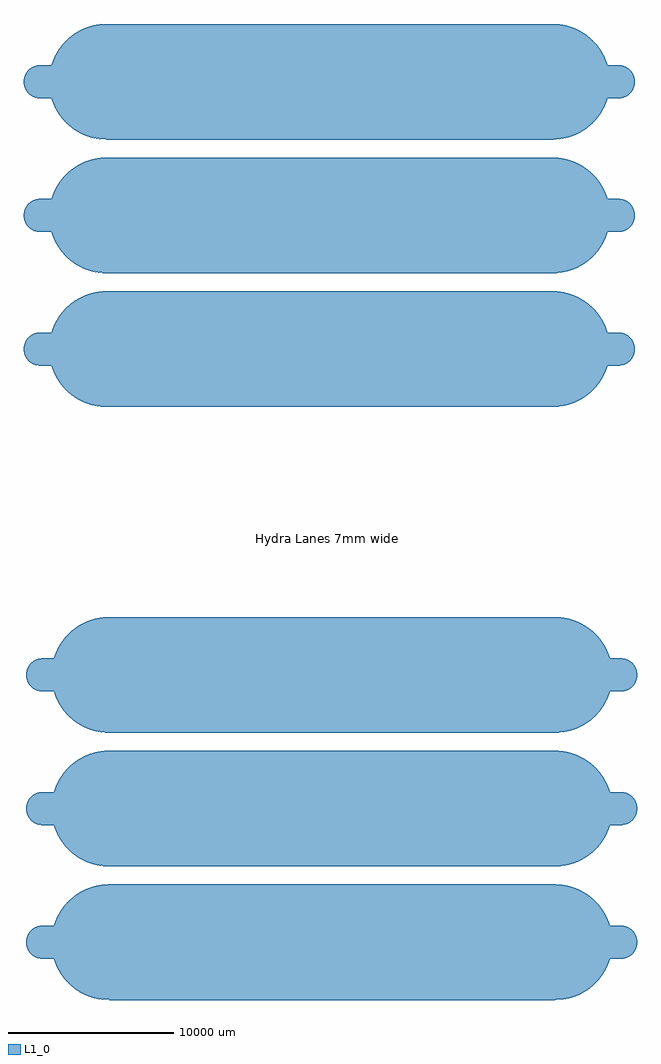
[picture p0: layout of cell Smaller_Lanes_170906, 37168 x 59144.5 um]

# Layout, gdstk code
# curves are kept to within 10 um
import gdstk
lib = gdstk.Library(unit=1e-6, precision=1e-09)
def R(c, l, rs):  # rectangles x0, y0, x1, y1
    for r in rs: c.add(gdstk.rectangle(r[:2], r[2:], *l))
def P(c, l, *ps):  # polygons
    for p in ps: c.add(gdstk.Polygon(p, *l))
L1_0 = (1, 0)

hydralane_1cmwide = lib.new_cell('HydraLane_1cmWide')
R(hydralane_1cmwide, L1_0, [(176922,10419.75,203922,17419.75), (172922,12919.75,207922,14919.75)])
P(hydralane_1cmwide, L1_0, [(207216.9,13210.15),(207091.5,13362),(206998.3,13535.45),(206940.9,13723.75),(206921.5,13919.75),(207216.9,13919.75)],
  [(207216.9,13919.75),(207921.5,13919.75),(207921.5,12919.75),(207725.5,12939.15),(207543.75,12993.85),(207369.6,13085.85),(207216.9,13210.15)],
  [(207216.9,13919.75),(206921.5,13919.75),(206940.9,14115.75),(206998.3,14304.05),(207091.5,14477.5),(207216.9,14629.35)],
  [(207216.9,14629.35),(207369.6,14753.65),(207543.75,14845.65),(207725.5,14900.35),(207921.5,14919.75),(207921.5,13919.75),(207216.9,13919.75)],
  [(208626.1,13210.15),(208473.4,13085.85),(208299.25,12993.85),(208117.5,12939.15),(207921.5,12919.75),(207921.5,13919.75),(208626.1,13919.75)],
  [(208626.1,13919.75),(208921.5,13919.75),(208902.1,13723.75),(208844.7,13535.45),(208751.5,13362),(208626.1,13210.15)],
  [(208626.1,13919.75),(207921.5,13919.75),(207921.5,14919.75),(208117.5,14900.35),(208299.25,14845.65),(208473.4,14753.65),(208626.1,14629.35)],
  [(208626.1,14629.35),(208751.5,14477.5),(208844.7,14304.05),(208902.1,14115.75),(208921.5,13919.75),(208626.1,13919.75)],
  [(172199.9,13919.75),(172199.9,13205.2),(172073.4,13356.2),(171976.3,13535.4),(171917.5,13730.75),(171899.5,13919.75)],
  [(171899.5,13919.75),(171917.5,14108.75),(171976.3,14304.1),(172073.4,14483.3),(172199.9,14634.3),(172199.9,13919.75)],
  [(172920.65,14634.3),(172920.65,12920),(172871.3,12920.15),(172682.85,12943.5),(172508.65,12999.3),(172341.75,13089.75),(172199.9,13205.2),(172199.9,14634.3)],
  [(172199.9,14634.3),(172353.5,14757.55),(172534.75,14850.85),(172724.25,14904.25),(172920.65,14919.5),(172920.65,14634.3)],
  [(173316.05,13010.65),(173122.95,12945.05),(172920.65,12920),(172920.65,14919.5),(173122.95,14894.45),(173316.05,14828.85)],
  [(173316.05,14828.85),(173474.65,14737.75),(173614.05,14619.3),(173614.05,13220.2),(173474.65,13101.75),(173316.05,13010.65)],
  [(173817.15,13522.45),(173729.45,13361.95),(173614.05,13220.2),(173614.05,14619.3),(173729.45,14477.55),(173817.15,14317.05)],
  [(173817.15,14317.05),(173878.65,14122.65),(173899.45,13926.8),(173894.6,13821.25),(173878.65,13716.85),(173817.15,13522.45)],
  [(201449.5,11435.55),(201217.85,11689.2),(201012.25,11964.25),(200834.55,12258.2),(200686.5,12568.2),(200569.6,12891.1),(200484.85,13224),(200433.2,13563.5),(200415,13919.75),(201449.5,13919.75)],
  [(201449.5,13919.75),(203915,13919.75),(203915,10419.75),(203585.05,10435.35),(203232.2,10487),(202911.65,10566.65),(202587.8,10681.15),(202276.75,10826.85),(201981.5,11002.3),(201715.15,11197.5),(201449.5,11435.55)],
  [(201449.5,13919.75),(200415,13919.75),(200433.2,14276),(200484.85,14615.5),(200569.6,14948.4),(200686.5,15271.3),(200834.55,15581.3),(201012.25,15875.25),(201217.85,16150.3),(201449.5,16403.95)],
  [(201449.5,16403.95),(201715.15,16642),(201981.5,16837.2),(202276.75,17012.65),(202587.8,17158.35),(202911.65,17272.85),(203232.2,17352.5),(203585.05,17404.15),(203915,17419.75),(203915,13919.75),(201449.5,13919.75)],
  [(206380.5,11435.55),(206114.85,11197.5),(205848.5,11002.3),(205553.25,10826.85),(205242.2,10681.15),(204918.35,10566.65),(204597.8,10487),(204244.95,10435.35),(203915,10419.75),(203915,13919.75),(206380.5,13919.75)],
  [(206380.5,13919.75),(207415,13919.75),(207396.8,13563.5),(207345.15,13224),(207260.4,12891.1),(207143.5,12568.2),(206995.45,12258.2),(206817.75,11964.25),(206612.15,11689.2),(206380.5,11435.55)],
  [(206380.5,13919.75),(203915,13919.75),(203915,17419.75),(204244.95,17404.15),(204597.8,17352.5),(204918.35,17272.85),(205242.2,17158.35),(205553.25,17012.65),(205848.5,16837.2),(206114.85,16642),(206380.5,16403.95)],
  [(206380.5,16403.95),(206612.15,16150.3),(206817.75,15875.25),(206995.45,15581.3),(207143.5,15271.3),(207260.4,14948.4),(207345.15,14615.5),(207396.8,14276),(207415,13919.75),(206380.5,13919.75)],
  [(174468,11435.55),(174236.35,11689.2),(174030.75,11964.25),(173853.05,12258.2),(173705,12568.2),(173588.1,12891.1),(173503.35,13224),(173451.7,13563.5),(173433.5,13919.75),(174468,13919.75)],
  [(174468,13919.75),(176933.5,13919.75),(176933.5,10419.75),(176603.55,10435.35),(176250.7,10487),(175930.15,10566.65),(175606.3,10681.15),(175295.25,10826.85),(175000,11002.3),(174733.65,11197.5),(174468,11435.55)],
  [(174468,13919.75),(173433.5,13919.75),(173451.7,14276),(173503.35,14615.5),(173588.1,14948.4),(173705,15271.3),(173853.05,15581.3),(174030.75,15875.25),(174236.35,16150.3),(174468,16403.95)],
  [(174468,16403.95),(174733.65,16642),(175000,16837.2),(175295.25,17012.65),(175606.3,17158.35),(175930.15,17272.85),(176250.7,17352.5),(176603.55,17404.15),(176933.5,17419.75),(176933.5,13919.75),(174468,13919.75)],
  [(179399,11435.55),(179133.35,11197.5),(178867,11002.3),(178571.75,10826.85),(178260.7,10681.15),(177936.85,10566.65),(177616.3,10487),(177263.45,10435.35),(176933.5,10419.75),(176933.5,13919.75),(179399,13919.75)],
  [(179399,13919.75),(180433.5,13919.75),(180415.3,13563.5),(180363.65,13224),(180278.9,12891.1),(180162,12568.2),(180013.95,12258.2),(179836.25,11964.25),(179630.65,11689.2),(179399,11435.55)],
  [(179399,13919.75),(176933.5,13919.75),(176933.5,17419.75),(177263.45,17404.15),(177616.3,17352.5),(177936.85,17272.85),(178260.7,17158.35),(178571.75,17012.65),(178867,16837.2),(179133.35,16642),(179399,16403.95)],
  [(179399,16403.95),(179630.65,16150.3),(179836.25,15875.25),(180013.95,15581.3),(180162,15271.3),(180278.9,14948.4),(180363.65,14615.5),(180415.3,14276),(180433.5,13919.75),(179399,13919.75)])

smaller_lanes_170906 = lib.new_cell('Smaller_Lanes_170906')
smaller_lanes_170906.add(gdstk.Reference(hydralane_1cmwide, (-382487.5,53975.75)))
smaller_lanes_170906.add(gdstk.Reference(hydralane_1cmwide, (-382487.5,62075.75)))
smaller_lanes_170906.add(gdstk.Reference(hydralane_1cmwide, (-382487.5,70175.75)))
smaller_lanes_170906.add(gdstk.Reference(hydralane_1cmwide, (-382633.5,89920.25)))
smaller_lanes_170906.add(gdstk.Reference(hydralane_1cmwide, (-382633.5,98020.25)))
smaller_lanes_170906.add(gdstk.Reference(hydralane_1cmwide, (-382633.5,106120.25)))
smaller_lanes_170906.add(gdstk.Label('Hydra Lanes 7mm wide', (-192333.334,92367.59), layer=1, texttype=0))
smaller_lanes_170906.add(gdstk.Label('Hydra Lanes 7mm wide', (-192479.334,128312.09), layer=1, texttype=0))

lib.write_gds('Smaller_Lanes_170906.gds')
